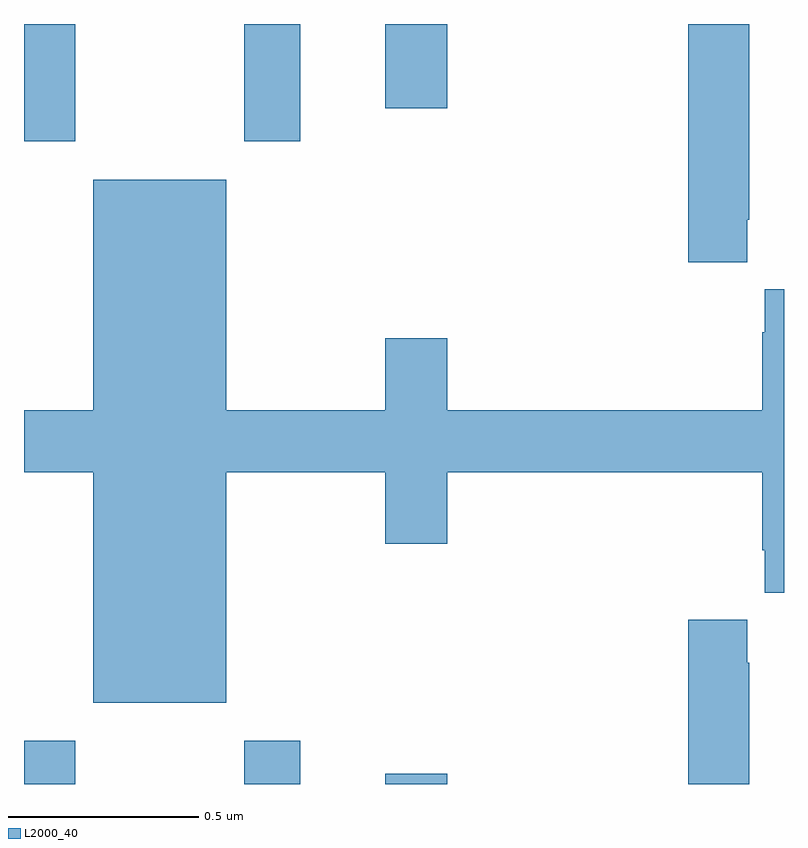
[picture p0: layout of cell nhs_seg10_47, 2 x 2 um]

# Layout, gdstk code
import gdstk
lib = gdstk.Library(unit=1e-6, precision=1e-09)
def R(c, l, rs):  # rectangles x0, y0, x1, y1
    for r in rs: c.add(gdstk.rectangle(r[:2], r[2:], *l))
def P(c, l, *ps):  # polygons
    for p in ps: c.add(gdstk.Polygon(p, *l))
L2000_40 = (2000, 40)

nhs_seg10_47 = lib.new_cell('nhs_seg10_47')
R(nhs_seg10_47, L2000_40, [(111,1295.5,111.135,1295.614), (111.58,1295.5,111.727,1295.614), (111.95,1295.5,112.114,1295.527), (111,1297.191,111.135,1297.5), (111.58,1297.191,111.727,1297.5), (111.95,1297.278,112.114,1297.5)])
P(nhs_seg10_47, L2000_40, [(112.903,1296.985),(112.908,1296.985),(112.908,1297.5),(112.748,1297.5),(112.748,1296.873),(112.903,1296.873)],
  [(111.532,1296.32),(111.95,1296.32),(111.95,1296.132),(112.114,1296.132),(112.114,1296.32),(112.943,1296.32),(112.943,1296.115),(112.949,1296.115),(112.949,1296.003),(113,1296.003),(113,1296.802),(112.949,1296.802),(112.949,1296.689),(112.943,1296.689),(112.943,1296.484),(112.114,1296.484),(112.114,1296.673),(111.95,1296.673),(111.95,1296.484),(111.532,1296.484),(111.532,1297.09),(111.182,1297.09),(111.182,1296.484),(111,1296.484),(111,1296.32),(111.182,1296.32),(111.182,1295.714),(111.532,1295.714)],
  [(112.908,1295.819),(112.903,1295.819),(112.903,1295.932),(112.748,1295.932),(112.748,1295.5),(112.908,1295.5)])

lib.write_gds('nhs_seg10_47.gds')
